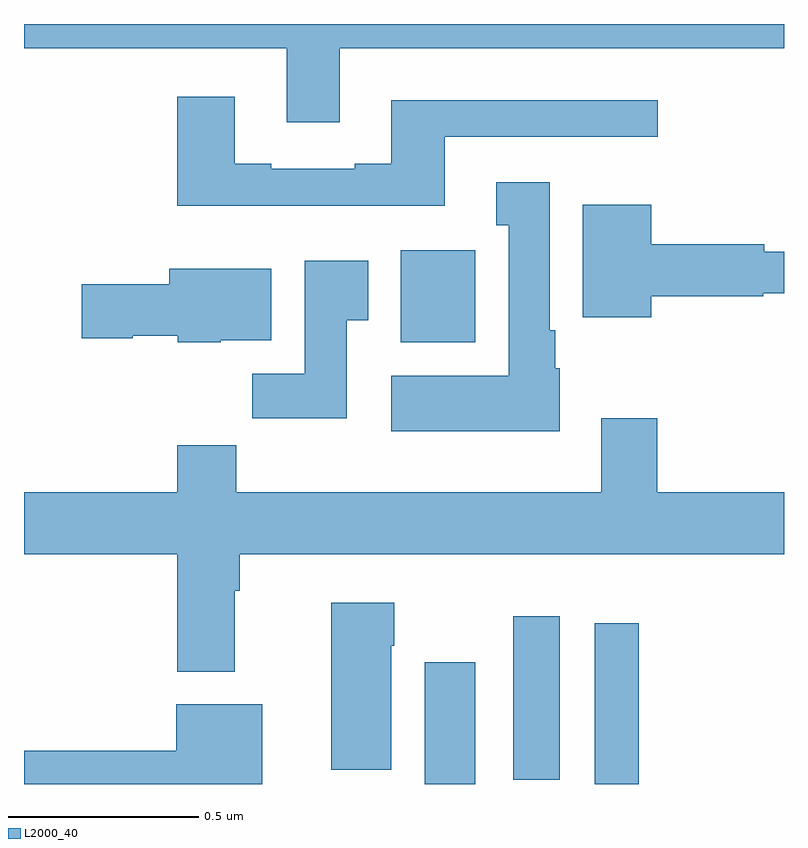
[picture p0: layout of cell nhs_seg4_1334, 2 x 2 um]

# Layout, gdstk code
import gdstk
lib = gdstk.Library(unit=1e-6, precision=1e-09)
def R(c, l, rs):  # rectangles x0, y0, x1, y1
    for r in rs: c.add(gdstk.rectangle(r[:2], r[2:], *l))
def P(c, l, *ps):  # polygons
    for p in ps: c.add(gdstk.Polygon(p, *l))
L2000_40 = (2000, 40)

nhs_seg4_1334 = lib.new_cell('nhs_seg4_1334')
R(nhs_seg4_1334, L2000_40, [(128.054,778.9,128.188,779.221), (128.502,778.9,128.618,779.323), (128.288,778.911,128.41,779.341), (127.991,780.062,128.188,780.304)])
P(nhs_seg4_1334, L2000_40, [(127.831,780.836),(129,780.836),(129,780.9),(127,780.9),(127,780.836),(127.691,780.836),(127.691,780.642),(127.831,780.642)],
  [(128.107,780.603),(128.668,780.603),(128.668,780.7),(127.967,780.7),(127.967,780.532),(127.871,780.532),(127.871,780.519),(127.651,780.519),(127.651,780.532),(127.555,780.532),(127.555,780.709),(127.403,780.709),(127.403,780.422),(128.107,780.422)],
  [(128.41,779.994),(128.398,779.994),(128.398,780.094),(128.383,780.094),(128.383,780.484),(128.243,780.484),(128.243,780.371),(128.276,780.371),(128.276,779.974),(127.967,779.974),(127.967,779.828),(128.41,779.828)],
  [(128.65,780.184),(128.946,780.184),(128.946,780.192),(129,780.192),(129,780.301),(128.948,780.301),(128.948,780.32),(128.65,780.32),(128.65,780.424),(128.471,780.424),(128.471,780.128),(128.65,780.128)],
  [(127.849,780.121),(127.906,780.121),(127.906,780.277),(127.739,780.277),(127.739,779.98),(127.6,779.98),(127.6,779.862),(127.849,779.862)],
  [(127.518,780.068),(127.651,780.068),(127.651,780.256),(127.382,780.256),(127.382,780.215),(127.152,780.215),(127.152,780.073),(127.286,780.073),(127.286,780.08),(127.404,780.08),(127.404,780.062),(127.518,780.062)],
  [(127.555,779.408),(127.568,779.408),(127.568,779.504),(129,779.504),(129,779.668),(128.667,779.668),(128.667,779.863),(128.519,779.863),(128.519,779.668),(127.559,779.668),(127.559,779.792),(127.403,779.792),(127.403,779.668),(127,779.668),(127,779.504),(127.403,779.504),(127.403,779.195),(127.555,779.195)],
  [(127.966,779.264),(127.974,779.264),(127.974,779.377),(127.808,779.377),(127.808,778.938),(127.966,778.938)],
  [(127.627,779.11),(127.4,779.11),(127.4,778.988),(127,778.988),(127,778.9),(127.627,778.9)])

lib.write_gds('nhs_seg4_1334.gds')
